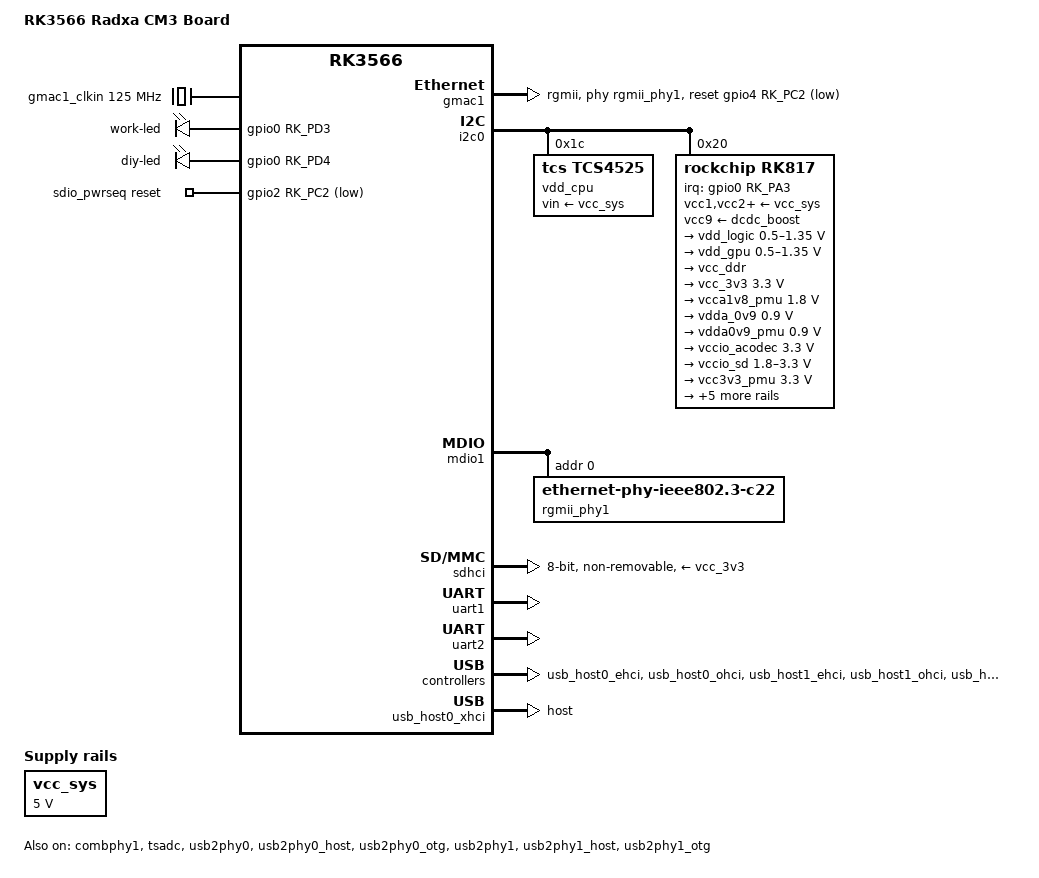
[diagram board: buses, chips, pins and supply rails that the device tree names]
// SPDX-License-Identifier: (GPL-2.0+ OR MIT)

/dts-v1/;

#include <dt-bindings/gpio/gpio.h>
#include <dt-bindings/pinctrl/rockchip.h>
#include "rockchip/rk3566.dtsi"

/ {
	model = "RK3566 Radxa CM3 Board";
	compatible = "radxa,cm3", "rockchip,rk3566";

	aliases {
		ethernet0 = &gmac1;
        mmc0 = &sdhci;
		mmc1 = &sdmmc1;
	};

	gmac1_clkin: external-gmac1-clock {
		compatible = "fixed-clock";
		clock-frequency = <125000000>;
		clock-output-names = "gmac1_clkin";
		#clock-cells = <0>;
	};

	leds {
		compatible = "gpio-leds";

		led-work {
			label = "work-led";
			default-state = "off";
			gpios = <&gpio0 RK_PD3 GPIO_ACTIVE_HIGH>;
			pinctrl-names = "default";
			pinctrl-0 = <&work_led_enable_h>;
			retain-state-suspended;
		};

		led-diy {
			label = "diy-led";
			default-state = "on";
			gpios = <&gpio0 RK_PD4 GPIO_ACTIVE_HIGH>;
			linux,default-trigger = "heartbeat";
			pinctrl-names = "default";
			pinctrl-0 = <&diy_led_enable_h>;
			retain-state-suspended;
		};
	};

	rk817-sound {
        status = "disabled";
		compatible = "simple-audio-card";
		simple-audio-card,format = "i2s";
		simple-audio-card,name = "Analog RK817";
		simple-audio-card,mclk-fs = <256>;

		simple-audio-card,cpu {
			sound-dai = <&i2s1_8ch>;
		};

		simple-audio-card,codec {
			sound-dai = <&rk817>;
		};
	};

	sdio_pwrseq: sdio-pwrseq {
		compatible = "mmc-pwrseq-simple";
		clocks = <&rk817 1>;
		clock-names = "ext_clock";
		pinctrl-names = "default";
		pinctrl-0 = <&wifi_enable_h>;
		post-power-on-delay-ms = <100>;
		power-off-delay-us = <5000000>;
		reset-gpios = <&gpio2 RK_PC2 GPIO_ACTIVE_LOW>;
	};

	/* sourced from vbus and vcc_bat+ via rk817 sw5 */
	vcc_sys: vcc_sys {
		compatible = "regulator-fixed";
		regulator-name = "vcc_sys";
		regulator-always-on;
		regulator-boot-on;
		regulator-min-microvolt = <5000000>;
		regulator-max-microvolt = <5000000>;
	};
};

&combphy1 {
	status = "okay";
};

&cpu0 {
	cpu-supply = <&vdd_cpu>;
};

&cpu1 {
	cpu-supply = <&vdd_cpu>;
};

&cpu2 {
	cpu-supply = <&vdd_cpu>;
};

&cpu3 {
	cpu-supply = <&vdd_cpu>;
};

&gmac1 {
	phy-mode = "rgmii";
	clock_in_out = "input";

	snps,reset-gpio = <&gpio4 RK_PC2 GPIO_ACTIVE_LOW>;
	snps,reset-active-low;
	/* Reset time is 20ms, 100ms for rtl8211f */
	snps,reset-delays-us = <0 20000 100000>;

	assigned-clocks = <&cru SCLK_GMAC1_RX_TX>, <&cru SCLK_GMAC1>;
	assigned-clock-parents = <&cru SCLK_GMAC1_RGMII_SPEED>, <&gmac1_clkin>;
	assigned-clock-rates = <0>, <125000000>;

	pinctrl-names = "default";
	pinctrl-0 = <&gmac1m0_miim
			 &gmac1m0_tx_bus2
			 &gmac1m0_rx_bus2
			 &gmac1m0_rgmii_clk
			 &gmac1m0_rgmii_bus
			 &gmac1m0_clkinout>;

	tx_delay = <0x46>;
	rx_delay = <0x2e>;

	phy-handle = <&rgmii_phy1>;
	status = "okay";
};

&gpu {
	mali-supply = <&vdd_gpu>;
	status = "disabled";
};

&i2c0 {
	status = "okay";

	vdd_cpu: regulator@1c {
		compatible = "tcs,tcs4525";
		reg = <0x1c>;
		fcs,suspend-voltage-selector = <1>;
		regulator-name = "vdd_cpu";
		regulator-min-microvolt = <712500>;
		regulator-max-microvolt = <1390000>;
		regulator-ramp-delay = <2300>;
		regulator-always-on;
		regulator-boot-on;
		vin-supply = <&vcc_sys>;

		regulator-state-mem {
			regulator-off-in-suspend;
		};
	};

	rk817: pmic@20 {
		compatible = "rockchip,rk817";
		reg = <0x20>;
		interrupt-parent = <&gpio0>;
		interrupts = <RK_PA3 IRQ_TYPE_LEVEL_LOW>;
		assigned-clocks = <&cru I2S1_MCLKOUT_TX>;
		assigned-clock-parents = <&cru CLK_I2S1_8CH_TX>;
		clock-names = "mclk";
		clocks = <&cru I2S1_MCLKOUT_TX>;
		clock-output-names = "rk808-clkout1", "rk808-clkout2";
		#clock-cells = <1>;
		pinctrl-names = "default";
		pinctrl-0 = <&pmic_int_l>;
        pinctrl-1 = <&soc_slppin_slp>, <&rk817_slppin_slp>;
		pinctrl-2 = <&soc_slppin_gpio>, <&rk817_slppin_pwrdn>;
		pinctrl-3 = <&soc_slppin_gpio>, <&rk817_slppin_rst>;
		rockchip,system-power-controller;
		#sound-dai-cells = <0>;
		wakeup-source;

		vcc1-supply = <&vcc_sys>;
		vcc2-supply = <&vcc_sys>;
		vcc3-supply = <&vcc_sys>;
		vcc4-supply = <&vcc_sys>;
		vcc5-supply = <&vcc_sys>;
		vcc6-supply = <&vcc_sys>;
		vcc7-supply = <&vcc_sys>;
		vcc8-supply = <&vcc_sys>;
		vcc9-supply = <&dcdc_boost>;
        
        pwrkey {
			status = "okay";
		};

		pinctrl_rk8xx: pinctrl_rk8xx {
			gpio-controller;
			#gpio-cells = <2>;

			rk817_slppin_null: rk817_slppin_null {
				pins = "gpio_slp";
				function = "pin_fun0";
			};

			rk817_slppin_slp: rk817_slppin_slp {
				pins = "gpio_slp";
				function = "pin_fun1";
			};

			rk817_slppin_pwrdn: rk817_slppin_pwrdn {
				pins = "gpio_slp";
				function = "pin_fun2";
			};

			rk817_slppin_rst: rk817_slppin_rst {
				pins = "gpio_slp";
				function = "pin_fun3";
			};
		};

		regulators {
			vdd_logic: DCDC_REG1 {
				regulator-always-on;
				regulator-boot-on;
				regulator-min-microvolt = <500000>;
				regulator-max-microvolt = <1350000>;
				regulator-init-microvolt = <900000>;
				regulator-ramp-delay = <6001>;
				regulator-initial-mode = <0x2>;
				regulator-name = "vdd_logic";
				regulator-state-mem {
					regulator-off-in-suspend;
					regulator-suspend-microvolt = <900000>;
				};
			};

			vdd_gpu: DCDC_REG2 {
				regulator-always-on;
				regulator-boot-on;
				regulator-min-microvolt = <500000>;
				regulator-max-microvolt = <1350000>;
				regulator-init-microvolt = <900000>;
				regulator-ramp-delay = <6001>;
				regulator-initial-mode = <0x2>;
				regulator-name = "vdd_gpu";
                regulator-state-mem {
					regulator-off-in-suspend;
				};
			};

			vcc_ddr: DCDC_REG3 {
				regulator-always-on;
				regulator-boot-on;
				regulator-initial-mode = <0x2>;
				regulator-name = "vcc_ddr";
				regulator-state-mem {
					regulator-on-in-suspend;
				};
			};

			vcc_3v3: DCDC_REG4 {
				regulator-always-on;
				regulator-boot-on;
				regulator-min-microvolt = <3300000>;
				regulator-max-microvolt = <3300000>;
				regulator-initial-mode = <0x2>;
				regulator-name = "vcc_3v3";
				regulator-state-mem {
					regulator-on-in-suspend;
                    regulator-suspend-microvolt = <3300000>;
				};
			};

			vcca1v8_pmu: LDO_REG1 {
				regulator-always-on;
				regulator-boot-on;
				regulator-min-microvolt = <1800000>;
				regulator-max-microvolt = <1800000>;
				regulator-name = "vcca1v8_pmu";
				regulator-state-mem {
					regulator-on-in-suspend;
					regulator-suspend-microvolt = <1800000>;
				};
			};

			vdda_0v9: LDO_REG2 {
				regulator-always-on;
				regulator-boot-on;
				regulator-min-microvolt = <900000>;
				regulator-max-microvolt = <900000>;
				regulator-name = "vdda_0v9";
				regulator-state-mem {
					regulator-off-in-suspend;
				};
			};

			vdda0v9_pmu: LDO_REG3 {
				regulator-always-on;
				regulator-boot-on;
				regulator-min-microvolt = <900000>;
				regulator-max-microvolt = <900000>;
				regulator-name = "vdda0v9_pmu";
				regulator-state-mem {
					regulator-on-in-suspend;
					regulator-suspend-microvolt = <900000>;
				};
			};

			vccio_acodec: LDO_REG4 {
				regulator-always-on;
				regulator-boot-on;
				regulator-min-microvolt = <3300000>;
				regulator-max-microvolt = <3300000>;
				regulator-name = "vccio_acodec";
				regulator-state-mem {
					regulator-off-in-suspend;
				};
			};

			vccio_sd: LDO_REG5 {
				regulator-always-on;
				regulator-boot-on;
				regulator-min-microvolt = <1800000>;
				regulator-max-microvolt = <3300000>;
				regulator-name = "vccio_sd";
				regulator-state-mem {
					regulator-off-in-suspend;
				};
			};

			vcc3v3_pmu: LDO_REG6 {
				regulator-always-on;
				regulator-boot-on;
				regulator-min-microvolt = <3300000>;
				regulator-max-microvolt = <3300000>;
				regulator-name = "vcc3v3_pmu";
				regulator-state-mem {
					regulator-on-in-suspend;
					regulator-suspend-microvolt = <3000000>;
				};
			};

			vcc_1v8: LDO_REG7 {
				regulator-always-on;
				regulator-boot-on;
				regulator-min-microvolt = <1800000>;
				regulator-max-microvolt = <1800000>;
				regulator-name = "vcc_1v8";
				regulator-state-mem {
					regulator-off-in-suspend;
				};
			};

			vcc1v8_dvp: LDO_REG8 {
				regulator-always-on;
				regulator-boot-on;
				regulator-min-microvolt = <1800000>;
				regulator-max-microvolt = <1800000>;
				regulator-name = "vcc1v8_dvp";
				regulator-state-mem {
					regulator-off-in-suspend;
				};
			};

			vcc2v8_dvp: LDO_REG9 {
				regulator-always-on;
				regulator-boot-on;
				regulator-min-microvolt = <2800000>;
				regulator-max-microvolt = <2800000>;
				regulator-name = "vcc2v8_dvp";
				regulator-state-mem {
					regulator-off-in-suspend;
				};
			};

			dcdc_boost: BOOST {
				regulator-always-on;
				regulator-boot-on;
				regulator-min-microvolt = <5000000>;
				regulator-max-microvolt = <5000000>;
				regulator-name = "boost";
				regulator-state-mem {
					regulator-off-in-suspend;
				};
			};

			otg_switch: OTG_SWITCH {
				regulator-name = "otg_switch";
				regulator-state-mem {
					regulator-off-in-suspend;
				};
			};
		};
	};
};

&mdio1 {
	rgmii_phy1: ethernet-phy@0 {
		compatible = "ethernet-phy-ieee802.3-c22";
		reg = <0>;
	};
};

&pinctrl {
	bt {
		bt_enable_h: bt-enable-h {
			rockchip,pins = <2 RK_PB7 RK_FUNC_GPIO &pcfg_pull_none>;
		};

		bt_host_wake_l: bt-host-wake-l {
			rockchip,pins = <2 RK_PC0 RK_FUNC_GPIO &pcfg_pull_down>;
		};

		bt_wake_l: bt-wake-l {
			rockchip,pins = <2 RK_PC1 RK_FUNC_GPIO &pcfg_pull_none>;
		};
	};

	leds {
		work_led_enable_h: work-led-enable-h {
			rockchip,pins = <0 RK_PD3 RK_FUNC_GPIO &pcfg_pull_none>;
		};

		diy_led_enable_h: diy-led-enable-h {
			rockchip,pins = <0 RK_PD4 RK_FUNC_GPIO &pcfg_pull_none>;
		};
	};

	pmic {
		pmic_int_l: pmic-int-l {
			rockchip,pins = <0 RK_PA3 RK_FUNC_GPIO &pcfg_pull_up>;
		};
        
        soc_slppin_gpio: soc_slppin_gpio {
			rockchip,pins = <0 RK_PA2 RK_FUNC_GPIO &pcfg_output_low>;
		};

		soc_slppin_slp: soc_slppin_slp {
			rockchip,pins = <0 RK_PA2 1 &pcfg_pull_none>;
		};

		soc_slppin_rst: soc_slppin_rst {
			rockchip,pins = <0 RK_PA2 2 &pcfg_pull_none>;
		};
	};

	sdio-pwrseq {
		wifi_enable_h: wifi-enable-h {
			rockchip,pins = <2 RK_PC2 RK_FUNC_GPIO &pcfg_pull_none>;
		};
	};
};

&pmu_io_domains {
	pmuio1-supply = <&vcc3v3_pmu>;
	pmuio2-supply = <&vcc_3v3>;
	vccio1-supply = <&vccio_acodec>;
	vccio2-supply = <&vcc_1v8>;
	vccio3-supply = <&vccio_sd>;
	vccio4-supply = <&vcc_1v8>;
	vccio5-supply = <&vcc_3v3>;
	vccio6-supply = <&vcc_3v3>;
	vccio7-supply = <&vcc_3v3>;
	status = "okay";
};

&sdhci {
	bus-width = <8>;
	mmc-hs200-1_8v;
	non-removable;
	vmmc-supply = <&vcc_3v3>;
	vqmmc-supply = <&vcc_1v8>;
	status = "okay";
};

&tsadc {
	/* tshut mode 0:CRU 1:GPIO */
	rockchip,hw-tshut-mode = <1>;
	/* tshut polarity 0:LOW 1:HIGH */
	rockchip,hw-tshut-polarity = <0>;
	status = "okay";
};

&uart1 {
	status = "okay";
	pinctrl-names = "default";
	pinctrl-0 = <&uart1m0_xfer &uart1m0_ctsn>;
};

&uart2 {
	status = "okay";
};

&usb_host0_ehci {
	status = "okay";
};

&usb_host0_ohci {
	status = "okay";
};

&usb_host1_ehci {
	status = "okay";
};

&usb_host1_ohci {
	status = "okay";
};

&usb_host0_xhci {
	dr_mode = "host";
	status = "okay";
};

/* usb3 controller is muxed with sata1 */
&usb_host1_xhci {
	status = "okay";
};

&usb2phy0 {
	status = "okay";
};

&usb2phy0_host {
	status = "okay";
};

&usb2phy0_otg {
	status = "okay";
};

&usb2phy1 {
	status = "okay";
};

&usb2phy1_host {
	status = "okay";
};

&usb2phy1_otg {
	status = "okay";
};

&gpio0 {
    gpio-ranges = <&pinctrl 0 0 32>;
};

&gpio1 {
    gpio-ranges = <&pinctrl 0 32 32>;
};

&gpio2 {
    gpio-ranges = <&pinctrl 0 64 32>;
};

&gpio3 {
    gpio-ranges = <&pinctrl 0 96 32>;
};

&gpio4 {
    gpio-ranges = <&pinctrl 0 128 32>;
};
